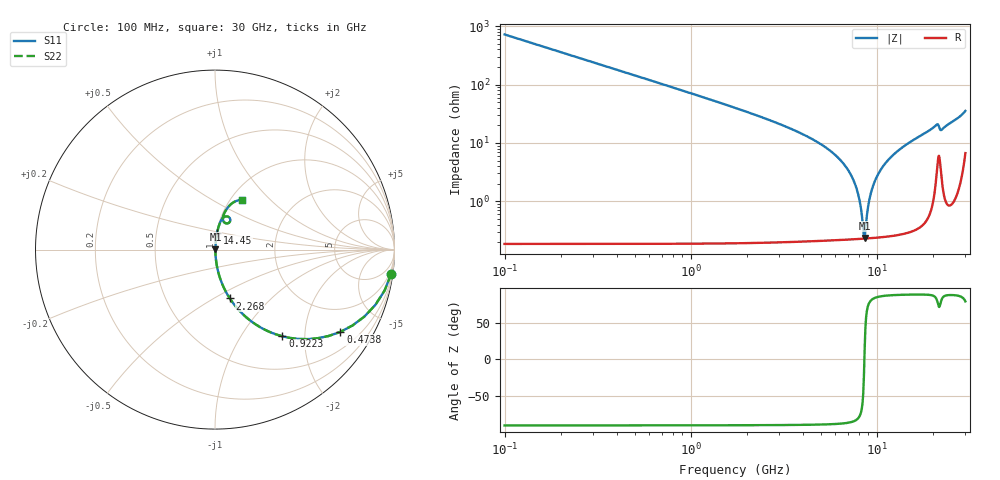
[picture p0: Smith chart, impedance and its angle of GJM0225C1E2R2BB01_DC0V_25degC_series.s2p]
!Murata Part Number: GJM0225C1E2R2BB01
!These Parameters are Measured in Series Mode Connection
!  o--ll--o
!Port1  Port2
!  o------o
!Operation Temp=25[degC], DC Bias Voltage=0[V]
!Freq. Start=100[MHz] Stop=30[GHz], 401[Steps]
!Data Generated on Feb 1, 2023
# Hz S RI R 50
!Freq.(Hz) S11(Real) S11(Imag) S21(Real) S21(Imag) S12(Real) S12(Imag) S22(Real) S22(Imag)
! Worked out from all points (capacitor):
!   401 points, 100 MHz to 30 GHz, reference 50 ohm
!   read as one part in series: C = 2.2 pF near 249.5 MHz
!   lowest |Z| = 237 mohm at 8.621 GHz (marker M1)
!   series resonance near 8.593 GHz, so ESL is about 160 pH
!   S11 on the Smith chart (normalised r, x): 100 MHz: 1, -14; 473.8 MHz: 1.00, -3.04; 922.2 MHz: 1.00, -1.55; 2.268 GHz: 1.00, -0.59; 14.45 GHz: 1.01, +0.19; 30 GHz: 1.13, +0.70
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1e8  0.9812 -0.1356  0.0188 0.1356  0.0188 0.1356  0.9812 -0.1356
3.2425e8  0.8321 -0.3734  0.1679 0.3734  0.1679 0.3734  0.8321 -0.3734
4.7375e8  0.6984 -0.4584  0.3016 0.4584  0.3016 0.4584  0.6984 -0.4584
9.2225e8  0.3758 -0.4831  0.6242 0.4831  0.6242 0.4831  0.3758 -0.4831
1.4455e9  0.1922 -0.3921  0.8078 0.3921  0.8078 0.3921  0.1922 -0.3921
2.26775e9  0.0825 -0.2718  0.9175 0.2718  0.9175 0.2718  0.0825 -0.2718
5.10825e9  0.0104 -0.0906  0.9896 0.0906  0.9896 0.0906  0.0104 -0.0906
6.5285e9  0.00437 -0.0467  0.9956 0.0467  0.9956 0.0467  0.00437 -0.0467
7.50025e9  0.00276 -0.023  0.9972 0.023  0.9972 0.023  0.00276 -0.023
8.0235e9  0.00239 -0.0116  0.9976 0.0116  0.9976 0.0116  0.00239 -0.0116
8.472e9  0.00229 -0.00238  0.9977 0.00238  0.9977 0.00238  0.00229 -0.00238
8.6215e9  0.00229 0.000567  0.9977 -0.000567  0.9977 -0.000567  0.00229 0.000567
9.2195e9  0.00247 0.0119  0.9975 -0.0119  0.9975 -0.0119  0.00247 0.0119
1.01165e10  0.00316 0.0277  0.9968 -0.0277  0.9968 -0.0277  0.00316 0.0277
1.1761e10  0.00545 0.0541  0.9945 -0.0541  0.9945 -0.0541  0.00545 0.0541
1.4452e10  0.0115 0.0927  0.9885 -0.0927  0.9885 -0.0927  0.0115 0.0927
1.505e10  0.0132 0.1008  0.9868 -0.1008  0.9868 -0.1008  0.0132 0.1008
2.005825e10  0.04 0.1717  0.96 -0.1717  0.96 -0.1717  0.04 0.1717
2.11795e10  0.0734 0.1831  0.9266 -0.1831  0.9266 -0.1831  0.0734 0.1831
2.215125e10  0.0553 0.1488  0.9447 -0.1488  0.9447 -0.1488  0.0553 0.1488
2.50665e10  0.0549 0.2093  0.9451 -0.2093  0.9451 -0.2093  0.0549 0.2093
3e10  0.1532 0.2767  0.8468 -0.2767  0.8468 -0.2767  0.1532 0.2767
